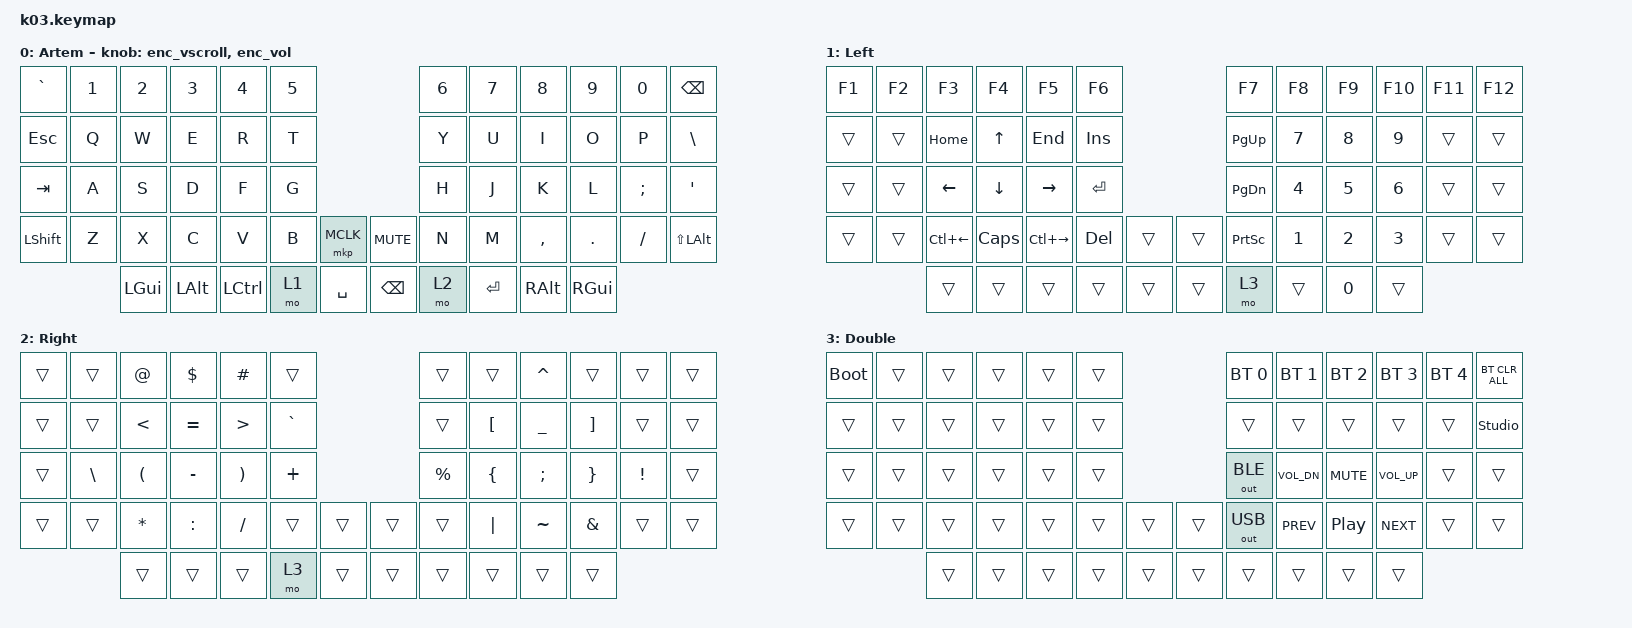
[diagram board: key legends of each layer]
#define ZMK_POINTING_DEFAULT_SCRL_VAL 30

#include "keys_ru.h"
#include <dt-bindings/zmk/pointing.h>
#include <behaviors.dtsi>
#include <dt-bindings/zmk/bt.h>
#include <dt-bindings/zmk/keys.h>
#include <dt-bindings/zmk/outputs.h>

/ {
    behaviors {
        enc_vol: enc_vol {
            compatible = "zmk,behavior-sensor-rotate";
            label = "ENC_VOL";
            #sensor-binding-cells = <0>;
            bindings = <&kp C_VOL_UP>, <&kp C_VOL_DN>;
        };
        enc_vscroll: enc_vscroll {
            compatible = "zmk,behavior-sensor-rotate";
            label = "ENC_VSCROLL";
            #sensor-binding-cells = <0>;
            tap-ms = <20>; // <--- Уменьшите время отклика
            bindings = <&msc MOVE_Y(10)>, <&msc MOVE_Y(-10)>; // <--- Отправляет сразу 10 шагов
        };

    };
    keymap {
        compatible = "zmk,keymap";

        base {
bindings = <
&kp GRAVE  &kp N1  &kp N2    &kp N3    &kp N4     &kp N5                              &kp N6  &kp N7     &kp N8     &kp N9    &kp N0    &kp BSPC
&kp ESC    &kp Q   &kp W     &kp E     &kp R      &kp T                               &kp Y   &kp U      &kp I      &kp O     &kp P     &kp BSLH
&kp TAB    &kp A   &kp S     &kp D     &kp F      &kp G                               &kp H   &kp J      &kp K      &kp L     &kp SEMI  &kp SQT
&kp LSHFT  &kp Z   &kp X     &kp C     &kp V      &kp B   &mkp MCLK    &kp C_MUTE     &kp N   &kp M      &kp COMMA  &kp DOT   &kp FSLH  &kp LS(LALT)
                   &kp LGUI  &kp LALT  &kp LCTRL  &mo 1   &kp SPACE    &kp BACKSPACE  &mo 2   &kp ENTER  &kp RALT   &kp RGUI
    >;


            display-name = "Artem";
            sensor-bindings = <&enc_vscroll>, <&enc_vol>;
        };

        nav {
            bindings = <
&kp F1  &kp F2  &kp F3        &kp F4    &kp F5         &kp F6                     &kp F7           &kp F8  &kp F9  &kp F10  &kp F11  &kp F12
&trans  &trans  &kp HOME      &kp UP    &kp END        &kp INS                    &kp PG_UP        &kp N7  &kp N8  &kp N9   &trans   &trans
&trans  &trans  &kp LEFT      &kp DOWN  &kp RIGHT      &kp RET                    &kp PG_DN        &kp N4  &kp N5  &kp N6   &trans   &trans
&trans  &trans  &kp LC(LEFT)  &kp CAPS  &kp LC(RIGHT)  &kp DEL  &trans    &trans  &kp PRINTSCREEN  &kp N1  &kp N2  &kp N3   &trans   &trans
                &trans        &trans    &trans         &trans   &trans    &trans  &mo 3            &trans  &kp N0  &trans
            >;

            display-name = "Left";
        };

        sym {
            bindings = <
&trans  &trans    &kp AT    &kp DLLR   &kp HASH  &trans                       &trans     &trans    &kp CARET  &trans    &trans    &trans
&trans  &trans    &kp LT    &kp EQUAL  &kp GT    &kp GRAVE                    &trans     &kp LBKT  &kp UNDER  &kp RBKT  &trans    &trans
&trans  &kp BSLH  &kp LPAR  &kp MINUS  &kp RPAR  &kp PLUS                     &kp PRCNT  &kp LBRC  &kp SEMI   &kp RBRC  &kp EXCL  &trans
&trans  &trans    &kp STAR  &kp COLON  &kp FSLH  &trans     &trans    &trans  &trans     &kp PIPE  &kp TILDE  &kp AMPS  &trans    &trans
                  &trans    &trans     &trans    &mo 3      &trans    &trans  &trans     &trans    &trans     &trans
            >;

            display-name = "Right";
        };

        adj {
            bindings = <
&bootloader  &trans  &trans  &trans  &trans  &trans                    &bt BT_SEL 0  &bt BT_SEL 1  &bt BT_SEL 2      &bt BT_SEL 3  &bt BT_SEL 4  &bt BT_CLR_ALL
&trans       &trans  &trans  &trans  &trans  &trans                    &trans        &trans        &trans            &trans        &trans        &studio_unlock
&trans       &trans  &trans  &trans  &trans  &trans                    &out OUT_BLE  &kp C_VOL_DN  &kp C_MUTE        &kp C_VOL_UP  &trans        &trans
&trans       &trans  &trans  &trans  &trans  &trans  &trans    &trans  &out OUT_USB  &kp C_PREV    &kp C_PLAY_PAUSE  &kp C_NEXT    &trans        &trans
                     &trans  &trans  &trans  &trans  &trans    &trans  &trans        &trans        &trans            &trans
            >;

            display-name = "Double";
        };
    };
};
